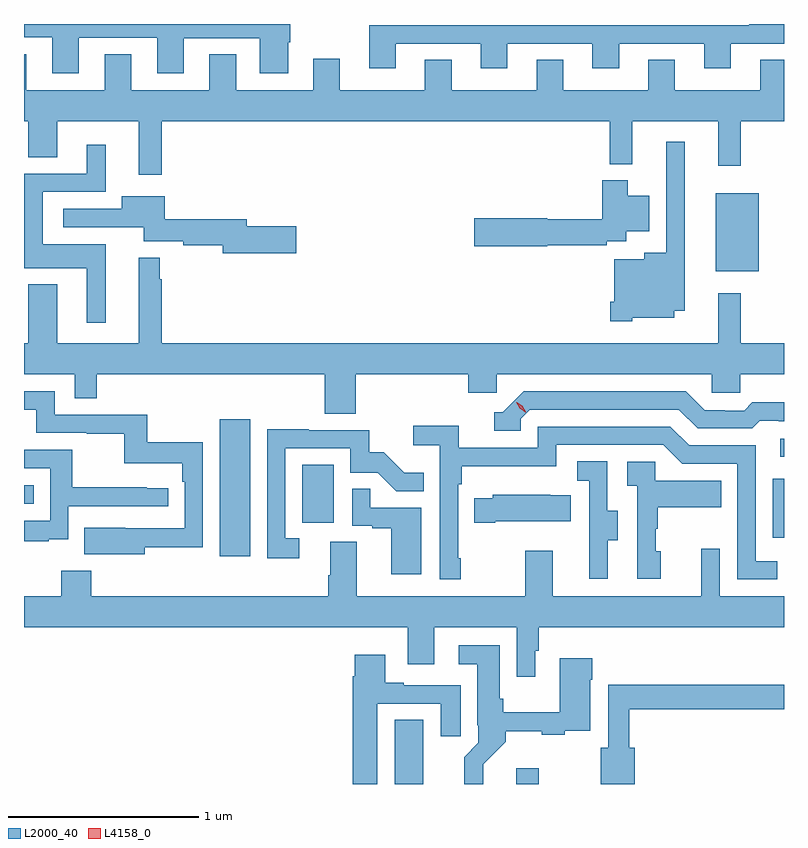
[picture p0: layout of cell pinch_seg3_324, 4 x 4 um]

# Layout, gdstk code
import gdstk
lib = gdstk.Library(unit=1e-6, precision=1e-09)
def R(c, l, rs):  # rectangles x0, y0, x1, y1
    for r in rs: c.add(gdstk.rectangle(r[:2], r[2:], *l))
def P(c, l, *ps):  # polygons
    for p in ps: c.add(gdstk.Polygon(p, *l))
L2000_40 = (2000, 40)
L4158_0 = (4158, 0)

pinch_seg3_324 = lib.new_cell('pinch_seg3_324')
R(pinch_seg3_324, L2000_40, [(999.194,706.752,999.343,707.09), (999.833,706.752,999.951,706.834), (998.273,707.952,998.434,708.673), (1001.184,708.048,1001.243,708.358), (998.708,708.126,998.872,708.433), (997.243,708.228,997.295,708.324), (1001.223,708.474,1001.243,708.57), (1000.883,709.451,1001.11,709.861)])
P(pinch_seg3_324, L2000_40, [(997.531,710.679),(997.943,710.679),(997.943,710.493),(998.083,710.493),(998.083,710.678),(998.483,710.678),(998.483,710.493),(998.635,710.493),(998.635,710.656),(998.643,710.656),(998.643,710.752),(997.243,710.752),(997.243,710.682),(997.391,710.682),(997.391,710.493),(997.531,710.493)],
  [(999.199,710.649),(999.647,710.649),(999.647,710.52),(999.787,710.52),(999.787,710.649),(1000.235,710.649),(1000.235,710.52),(1000.375,710.52),(1000.375,710.649),(1000.823,710.649),(1000.823,710.52),(1000.963,710.52),(1000.963,710.649),(1001.243,710.649),(1001.243,710.752),(1001.059,710.752),(1001.059,710.745),(999.059,710.745),(999.059,710.52),(999.199,710.52)],
  [(1000.327,710.015),(1000.445,710.015),(1000.445,710.24),(1000.898,710.24),(1000.898,710.007),(1001.015,710.007),(1001.015,710.24),(1001.243,710.24),(1001.243,710.564),(1001.117,710.564),(1001.117,710.404),(1000.669,710.404),(1000.669,710.564),(1000.529,710.564),(1000.529,710.404),(1000.081,710.404),(1000.081,710.564),(999.941,710.564),(999.941,710.404),(999.493,710.404),(999.493,710.564),(999.353,710.564),(999.353,710.404),(998.905,710.404),(998.905,710.569),(998.765,710.569),(998.765,710.404),(998.359,710.404),(998.359,710.593),(998.219,710.593),(998.219,710.404),(997.807,710.404),(997.807,710.594),(997.667,710.594),(997.667,710.404),(997.255,710.404),(997.255,710.594),(997.243,710.594),(997.243,710.24),(997.265,710.24),(997.265,710.05),(997.417,710.05),(997.417,710.24),(997.847,710.24),(997.847,709.959),(997.969,709.959),(997.969,710.24),(1000.327,710.24)],
  [(1000.443,709.205),(1000.666,709.205),(1000.666,709.244),(1000.72,709.244),(1000.72,710.131),(1000.623,710.131),(1000.623,709.549),(1000.508,709.549),(1000.508,709.513),(1000.349,709.513),(1000.349,709.291),(1000.328,709.291),(1000.328,709.187),(1000.443,709.187)],
  [(997.672,709.594),(997.342,709.594),(997.342,709.869),(997.672,709.869),(997.672,710.116),(997.574,710.116),(997.574,709.965),(997.243,709.965),(997.243,709.466),(997.574,709.466),(997.574,709.179),(997.672,709.179)],
  [(999.996,709.588),(1000.31,709.588),(1000.31,709.608),(1000.414,709.608),(1000.414,709.661),(1000.534,709.661),(1000.534,709.849),(1000.42,709.849),(1000.42,709.93),(1000.286,709.93),(1000.286,709.724),(999.996,709.724),(999.996,709.73),(999.612,709.73),(999.612,709.583),(999.996,709.583)],
  [(998.677,709.688),(998.416,709.688),(998.416,709.724),(997.984,709.724),(997.984,709.846),(997.757,709.846),(997.757,709.779),(997.449,709.779),(997.449,709.683),(997.874,709.683),(997.874,709.608),(998.08,709.608),(998.08,709.588),(998.288,709.588),(998.288,709.546),(998.677,709.546)],
  [(998.99,708.908),(999.581,708.908),(999.581,708.81),(999.732,708.81),(999.732,708.908),(1000.863,708.908),(1000.863,708.81),(1001.013,708.81),(1001.013,708.908),(1001.243,708.908),(1001.243,709.072),(1001.015,709.072),(1001.015,709.336),(1000.897,709.336),(1000.897,709.072),(997.969,709.072),(997.969,709.409),(997.958,709.409),(997.958,709.522),(997.847,709.522),(997.847,709.072),(997.417,709.072),(997.417,709.381),(997.265,709.381),(997.265,709.072),(997.243,709.072),(997.243,708.908),(997.509,708.908),(997.509,708.781),(997.625,708.781),(997.625,708.908),(998.825,708.908),(998.825,708.7),(998.99,708.7)],
  [(999.858,708.675),(999.906,708.723),(1000.689,708.723),(1000.788,708.624),(1001.077,708.624),(1001.116,708.663),(1001.215,708.663),(1001.215,708.66),(1001.243,708.66),(1001.243,708.76),(1001.077,708.76),(1001.035,708.717),(1000.932,708.717),(1000.932,708.72),(1000.825,708.72),(1000.726,708.819),(999.873,708.819),(999.762,708.708),(999.719,708.708),(999.719,708.612),(999.858,708.612)],
  [(997.879,707.998),(998.184,707.998),(998.184,708.55),(997.891,708.55),(997.891,708.696),(997.404,708.696),(997.404,708.819),(997.243,708.819),(997.243,708.723),(997.308,708.723),(997.308,708.6),(997.573,708.6),(997.573,708.595),(997.77,708.595),(997.77,708.44),(998.075,708.44),(998.075,708.344),(998.088,708.344),(998.088,708.099),(997.775,708.099),(997.775,708.1),(997.561,708.1),(997.561,707.96),(997.879,707.96)],
  [(999.541,707.941),(999.528,707.941),(999.528,708.329),(999.548,708.329),(999.548,708.425),(1000.044,708.425),(1000.044,708.537),(1000.608,708.537),(1000.707,708.438),(1000.998,708.438),(1000.998,707.829),(1001.207,707.829),(1001.207,707.925),(1001.094,707.925),(1001.094,708.534),(1000.744,708.534),(1000.645,708.633),(999.948,708.633),(999.948,708.522),(999.53,708.522),(999.53,708.638),(999.291,708.638),(999.291,708.536),(999.432,708.536),(999.432,707.829),(999.541,707.829)],
  [(998.692,708.045),(998.619,708.045),(998.619,708.519),(998.961,708.519),(998.961,708.39),(999.105,708.39),(999.203,708.292),(999.347,708.292),(999.347,708.391),(999.243,708.391),(999.136,708.498),(999.06,708.498),(999.06,708.615),(998.741,708.615),(998.741,708.62),(998.523,708.62),(998.523,707.94),(998.692,707.94)],
  [(997.373,708.041),(997.476,708.041),(997.476,708.213),(998.002,708.213),(998.002,708.309),(997.889,708.309),(997.889,708.314),(997.496,708.314),(997.496,708.51),(997.243,708.51),(997.243,708.414),(997.38,708.414),(997.38,708.138),(997.243,708.138),(997.243,708.03),(997.373,708.03)],
  [(1000.315,708.034),(1000.369,708.034),(1000.369,708.189),(1000.314,708.189),(1000.314,708.452),(1000.155,708.452),(1000.155,708.349),(1000.218,708.349),(1000.218,708.045),(1000.217,708.045),(1000.217,707.832),(1000.315,707.832)],
  [(1000.594,707.976),(1000.569,707.976),(1000.569,708.095),(1000.579,708.095),(1000.579,708.209),(1000.913,708.209),(1000.913,708.349),(1000.566,708.349),(1000.566,708.447),(1000.419,708.447),(1000.419,708.323),(1000.47,708.323),(1000.47,707.832),(1000.594,707.832)],
  [(999.334,708.207),(999.065,708.207),(999.065,708.305),(998.97,708.305),(998.97,708.111),(999.077,708.111),(999.077,708.099),(999.176,708.099),(999.176,707.856),(999.334,707.856)],
  [(999.724,708.134),(1000.121,708.134),(1000.121,708.271),(1000.013,708.271),(1000.013,708.274),(999.711,708.274),(999.711,708.256),(999.613,708.256),(999.613,708.127),(999.724,708.127)],
  [(999.934,707.454),(999.953,707.454),(999.953,707.576),(1001.243,707.576),(1001.243,707.74),(1000.905,707.74),(1000.905,707.989),(1000.808,707.989),(1000.808,707.74),(1000.027,707.74),(1000.027,707.98),(999.88,707.98),(999.88,707.74),(998.995,707.74),(998.995,708.026),(998.855,708.026),(998.855,707.852),(998.843,707.852),(998.843,707.74),(997.598,707.74),(997.598,707.875),(997.438,707.875),(997.438,707.74),(997.243,707.74),(997.243,707.576),(999.263,707.576),(999.263,707.382),(999.403,707.382),(999.403,707.576),(999.837,707.576),(999.837,707.316),(999.934,707.316)],
  [(999.661,706.856),(999.779,706.974),(999.779,707.03),(999.968,707.03),(999.968,707.011),(1000.088,707.011),(1000.088,707.031),(1000.222,707.031),(1000.222,707.3),(1000.235,707.3),(1000.235,707.413),(1000.064,707.413),(1000.064,707.129),(999.766,707.129),(999.766,707.202),(999.748,707.202),(999.748,707.482),(999.531,707.482),(999.531,707.381),(999.629,707.381),(999.629,707.062),(999.633,707.062),(999.633,706.968),(999.559,706.894),(999.559,706.752),(999.661,706.752)],
  [(999.103,707.175),(999.437,707.175),(999.437,707.004),(999.541,707.004),(999.541,707.271),(999.241,707.271),(999.241,707.284),(999.145,707.284),(999.145,707.431),(998.984,707.431),(998.984,707.318),(998.972,707.318),(998.972,706.752),(999.103,706.752)],
  [(1000.457,706.942),(1000.429,706.942),(1000.429,707.146),(1001.243,707.146),(1001.243,707.275),(1000.317,707.275),(1000.317,706.942),(1000.279,706.942),(1000.279,706.752),(1000.457,706.752)])
P(pinch_seg3_324, L4158_0, [(999.882,708.709),(999.852,708.729),(999.835,708.762),(999.835,708.762),(999.836,708.762),(999.866,708.742),(999.883,708.71),(999.883,708.709)])

lib.write_gds('pinch_seg3_324.gds')
